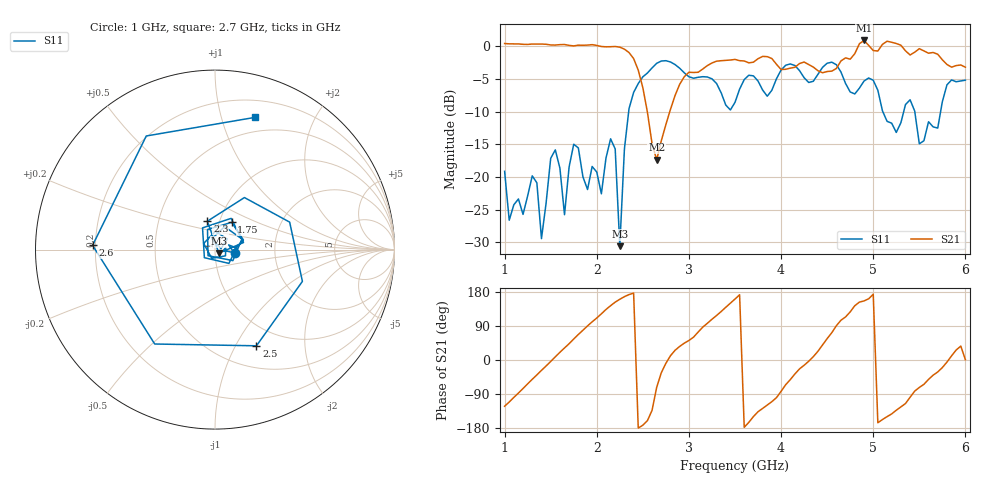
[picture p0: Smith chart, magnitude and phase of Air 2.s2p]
! NanoVNA-App
! Date: 2024-03-20 19:29:04
! Start: 1GHz Stop: 6GHz Points: 101
! S-Parameter data: F S11 S21 S12 S22
# Hz S RI R 50
!	Frequency	S11_Real	S11_Imag	S21_Real	S21_Imag	S12_Real	S12_Imag	S22_Real	S22_Imag
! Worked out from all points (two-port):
!   101 points, 1 GHz to 6 GHz, reference 50 ohm
!   highest |S21| = 0.88 dB at 4.9 GHz (marker M1); lowest = -17.4 dB at 2.65 GHz (marker M2)
!   |S21| within 3 dB of the highest: start of sweep to 2.406 GHz; 4.664 GHz to 5.753 GHz (1.089 GHz wide, 20.9 % of centre)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
!   lowest |S11| = -30.6 dB at 2.25 GHz (marker M3), VSWR 1.06, Z = 52.2 - j2.09 ohm
!   |S11| at or under -10 dB: start of sweep to 2.346 GHz; 5.104 GHz to 5.331 GHz (226.8 MHz wide, 4.35 % of centre); 5.451 GHz to 5.731 GHz (280.3 MHz wide, 5.01 % of centre)
!   S12 and S22 are empty: the file has one direction only
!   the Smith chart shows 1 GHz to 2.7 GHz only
!   S11 on the Smith chart (normalised r, x): 1 GHz: 1.24, -0.05; 1.75 GHz: 1.14, +0.36; 2.3 GHz: 0.88, +0.28; 2.5 GHz: 0.75, -1.22; 2.6 GHz: 0.19, +0.02; 2.7 GHz: 0.36, +1.29
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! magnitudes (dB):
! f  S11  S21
! 1 GHz  -19.1  0.4
! 1.05 GHz  -26.6  0.4
! 1.35 GHz  -20.9  0.3
! 1.4 GHz  -29.4  0.3
! 1.5 GHz  -17.1  0.2
! 1.65 GHz  -25.8  0.3
! 1.75 GHz  -15.0  0.1
! 1.85 GHz  -20.0  0.1
! 2.05 GHz  -22.6  0.0
! 2.15 GHz  -14.2  -0.1
! 2.2 GHz  -15.7  0.0
! 2.25 GHz  -30.6  -0.1
! 2.3 GHz  -15.7  -0.4
! 2.5 GHz  -4.7  -6.3
! 2.6 GHz  -3.3  -14.9
! 2.65 GHz  -2.6  -17.4
! 2.7 GHz  -2.3  -14.5
! 3.5 GHz  -8.6  -2.0
! 4.35 GHz  -5.4  -3.2
! 4.9 GHz  -5.3  0.9
! 5.2 GHz  -11.8  0.6
! 6 GHz  -5.2  -3.2
